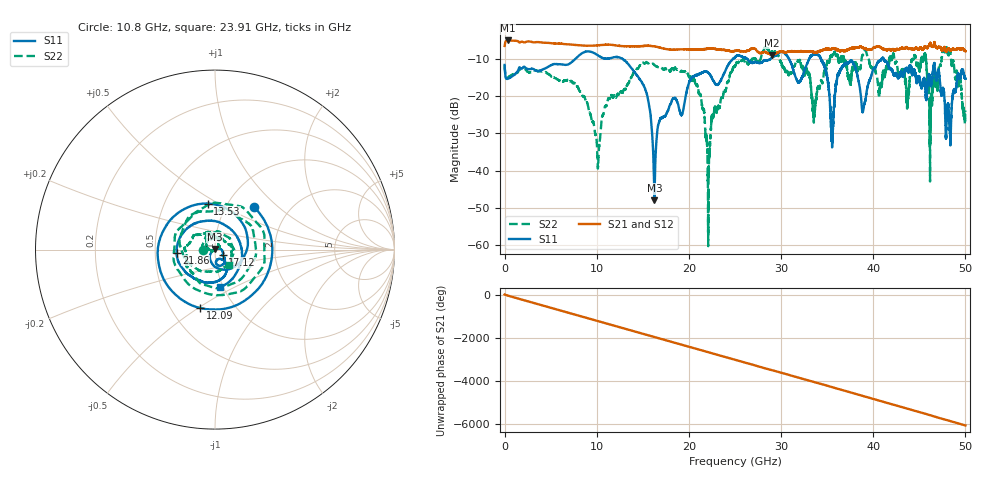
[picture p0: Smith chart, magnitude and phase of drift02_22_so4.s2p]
!Created with skrf (http://scikit-rf.org).
# Hz S RI R 50.0
!freq ReS11 ImS11 ReS21 ImS21 ReS12 ImS12 ReS22 ImS22
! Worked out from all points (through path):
!   10001 points, 300 kHz to 50 GHz, reference 50 ohm
!   highest |S21| = -5.04 dB at 325.3 MHz (marker M1); lowest = -8.9 dB at 28.98 GHz (marker M2)
!   group delay of S21, straight-line fit = 336 ps
!   lowest |S11| = -47.9 dB at 16.25 GHz (marker M3), VSWR 1.01, Z = 49.8 + j0.346 ohm
!   |S11| at or under -10 dB: start of sweep to 7.668 GHz; 12.82 GHz to 24.78 GHz (11.96 GHz wide, 63.6 % of centre); 41.13 GHz to end of sweep (the widest 3 of 9)
!   |S22| runs from -60.2 to -6.8 dB; largest |S21 - S12| = 0.029
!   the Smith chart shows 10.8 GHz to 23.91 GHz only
!   S11 on the Smith chart (normalised r, x): 10.8 GHz: 1.35, +0.71; 12.09 GHz: 0.69, -0.51; 13.53 GHz: 0.81, +0.45; 17.12 GHz: 1.09, -0.06; 21.86 GHz: 0.65, -0.02; 23.91 GHz: 0.97, -0.43
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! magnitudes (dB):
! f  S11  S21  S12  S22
! 300 kHz  -11.6  -6.5  -6.5  -11.7
! 325.3 MHz  -15.3  -5.0  -5.0  -15.1
! 8.335 GHz  -8.6  -6.4  -6.4  -19.1
! 10.11 GHz  -9.0  -6.4  -6.3  -38.3
! 10.8 GHz  -9.9  -6.2  -6.2  -23.8
! 12.09 GHz  -9.5  -6.4  -6.4  -20.3
! 13.53 GHz  -11.7  -6.6  -6.6  -16.1
! 16.25 GHz  -47.9  -6.6  -6.6  -11.6
! 16.67 GHz  -27.6  -6.8  -6.8  -12.2
! 17.12 GHz  -25.8  -7.1  -7.1  -12.5
! 20.72 GHz  -14.3  -7.5  -7.5  -16.8
! 21.86 GHz  -13.4  -7.3  -7.4  -30.9
! 23.91 GHz  -13.5  -7.6  -7.6  -18.6
! 25 GHz  -9.5  -7.8  -7.9  -11.9
! 28.98 GHz  -9.8  -8.9  -8.9  -8.1
! 33.34 GHz  -9.1  -8.0  -8.0  -20.0
! 35.54 GHz  -31.3  -7.3  -7.3  -9.1
! 36.82 GHz  -11.7  -7.9  -7.9  -10.2
! 41.67 GHz  -12.0  -7.4  -7.5  -12.1
! 46.25 GHz  -17.1  -6.1  -6.1  -22.1
! 48.13 GHz  -22.0  -7.2  -7.1  -9.1
! 50 GHz  -15.3  -7.9  -7.9  -24.2
